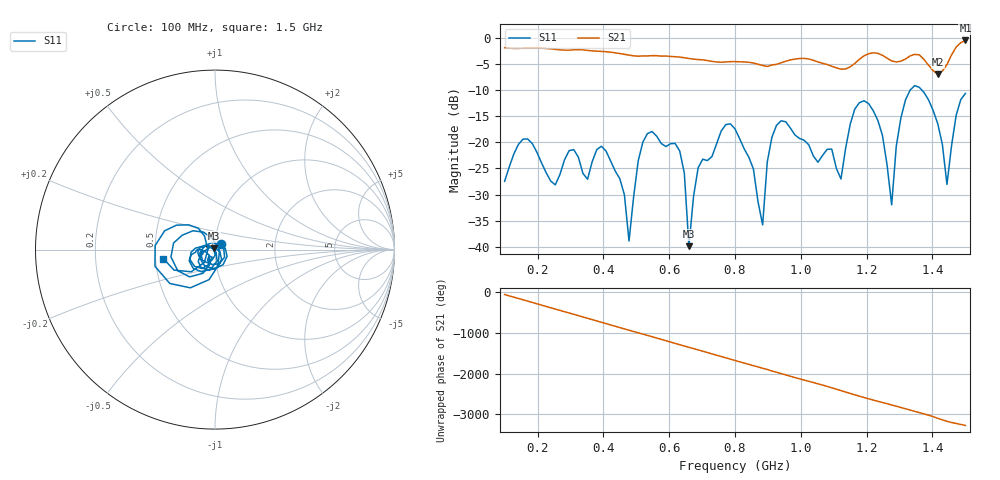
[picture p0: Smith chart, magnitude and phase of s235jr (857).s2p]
! NanoVNA-App
! Date: 2025-09-25 15:10:50
! Start: 100MHz Stop: 1,5GHz Points: 101
! S-Parameter data: F S11 S21 S12 S22
# Hz S RI R 50
!  Frequency  S11_Real  S11_Imag  S21_Real  S21_Imag  S12_Real  S12_Imag  S22_Real  S22_Imag
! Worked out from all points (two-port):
!   101 points, 100 MHz to 1.5 GHz, reference 50 ohm
!   highest |S21| = -0.56 dB at 1.5 GHz (marker M1); lowest = -7.0 dB at 1.416 GHz (marker M2)
!   |S21| within 3 dB of the highest: start of sweep to 504.7 MHz; 507.6 MHz to 594.6 MHz (86.97 MHz wide, 15.8 % of centre) (the widest 2 of 5)
!   lowest |S11| = -39.9 dB at 660 MHz (marker M3), VSWR 1.02, Z = 49.2 + j0.611 ohm
!   |S11| at or under -10 dB: start of sweep to 1.333 GHz; 1.367 GHz to end of sweep
!   S12 and S22 are empty: the file has one direction only
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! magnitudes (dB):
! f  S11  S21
! 100 MHz  -27.5  -2.0
! 156 MHz  -19.4  -2.0
! 338 MHz  -26.0  -2.4
! 408 MHz  -21.7  -2.7
! 478 MHz  -38.9  -3.4
! 520 MHz  -20.0  -3.5
! 576 MHz  -20.2  -3.6
! 632 MHz  -21.7  -3.7
! 660 MHz  -39.9  -4.0
! 688 MHz  -24.9  -4.2
! 800 MHz  -17.4  -4.6
! 884 MHz  -35.8  -5.3
! 926 MHz  -16.8  -5.1
! 1.038 GHz  -22.6  -4.4
! 1.122 GHz  -27.0  -6.0
! 1.164 GHz  -13.7  -5.0
! 1.206 GHz  -12.6  -3.1
! 1.276 GHz  -32.0  -4.5
! 1.332 GHz  -10.0  -3.5
! 1.416 GHz  -16.5  -7.0
! 1.444 GHz  -28.1  -5.2
! 1.5 GHz  -10.7  -0.6
